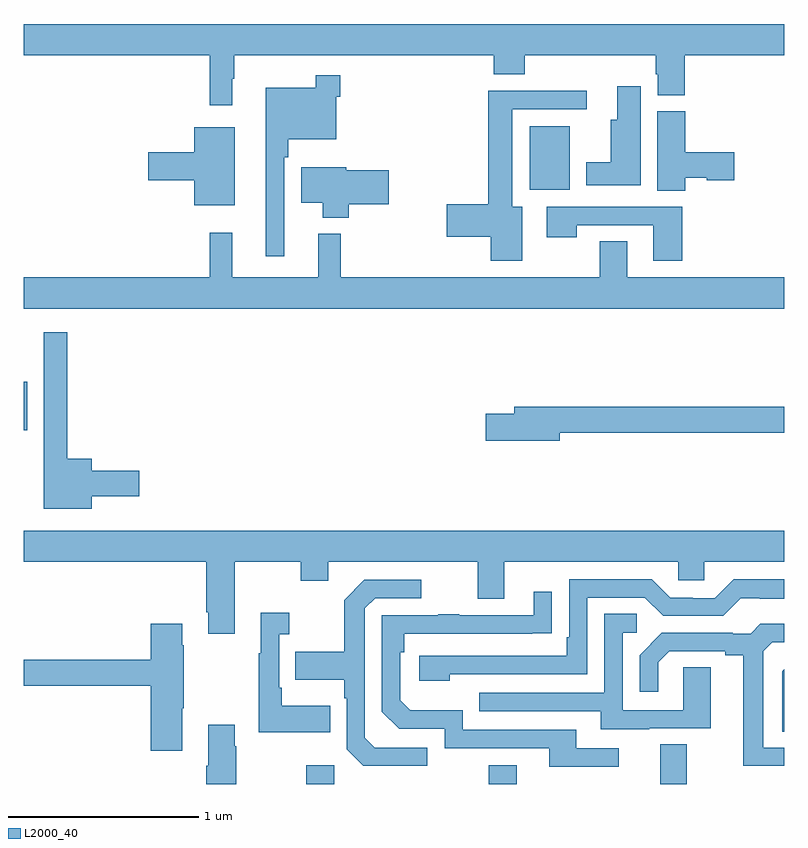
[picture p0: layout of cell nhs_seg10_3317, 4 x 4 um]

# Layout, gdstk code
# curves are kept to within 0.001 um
import gdstk
lib = gdstk.Library(unit=1e-6, precision=1e-09)
def R(c, l, rs):  # rectangles x0, y0, x1, y1
    for r in rs: c.add(gdstk.rectangle(r[:2], r[2:], *l))
def P(c, l, *ps):  # polygons
    for p in ps: c.add(gdstk.Polygon(p, *l))
L2000_40 = (2000, 40)

nhs_seg10_3317 = lib.new_cell('nhs_seg10_3317')
R(nhs_seg10_3317, L2000_40, [(292.486,1280.5,292.632,1280.599), (293.446,1280.5,293.593,1280.599), (294.347,1280.5,294.487,1280.708), (291,1282.361,291.019,1282.615), (293.66,1283.624,293.872,1283.959)])
P(nhs_seg10_3317, L2000_40, [(292.096,1284.209),(292.108,1284.209),(292.108,1284.332),(293.471,1284.332),(293.471,1284.233),(293.636,1284.233),(293.636,1284.332),(294.323,1284.332),(294.323,1284.231),(294.335,1284.231),(294.335,1284.121),(294.476,1284.121),(294.476,1284.332),(295,1284.332),(295,1284.496),(291,1284.496),(291,1284.332),(291.979,1284.332),(291.979,1284.069),(292.096,1284.069)],
  [(292.371,1283.795),(292.391,1283.795),(292.391,1283.891),(292.644,1283.891),(292.644,1284.113),(292.664,1284.113),(292.664,1284.226),(292.536,1284.226),(292.536,1284.16),(292.274,1284.16),(292.274,1283.274),(292.371,1283.274)],
  [(294.244,1284.169),(294.122,1284.169),(294.122,1283.992),(294.086,1283.992),(294.086,1283.77),(293.957,1283.77),(293.957,1283.648),(294.244,1283.648)],
  [(293.623,1283.536),(293.569,1283.536),(293.569,1284.048),(293.962,1284.048),(293.962,1284.146),(293.444,1284.146),(293.444,1283.549),(293.226,1283.549),(293.226,1283.378),(293.456,1283.378),(293.456,1283.25),(293.623,1283.25)],
  [(294.479,1283.687),(294.593,1283.687),(294.593,1283.675),(294.736,1283.675),(294.736,1283.822),(294.479,1283.822),(294.479,1284.036),(294.332,1284.036),(294.332,1283.62),(294.479,1283.62)],
  [(292.111,1283.953),(291.896,1283.953),(291.896,1283.822),(291.654,1283.822),(291.654,1283.675),(291.896,1283.675),(291.896,1283.543),(292.111,1283.543)],
  [(292.709,1283.548),(292.921,1283.548),(292.921,1283.726),(292.696,1283.726),(292.696,1283.743),(292.46,1283.743),(292.46,1283.555),(292.574,1283.555),(292.574,1283.477),(292.709,1283.477)],
  [(294.464,1283.535),(293.751,1283.535),(293.751,1283.376),(293.907,1283.376),(293.907,1283.439),(294.311,1283.439),(294.311,1283.25),(294.464,1283.25)],
  [(295,1283.164),(294.175,1283.164),(294.175,1283.354),(294.028,1283.354),(294.028,1283.164),(292.667,1283.164),(292.667,1283.392),(292.55,1283.392),(292.55,1283.164),(292.097,1283.164),(292.097,1283.398),(291.979,1283.398),(291.979,1283.164),(291,1283.164),(291,1283),(295,1283)],
  [(291.358,1282.013),(291.607,1282.013),(291.607,1282.148),(291.358,1282.148),(291.358,1282.21),(291.229,1282.21),(291.229,1282.876),(291.107,1282.876),(291.107,1281.947),(291.358,1281.947)],
  [(293.818,1282.348),(295,1282.348),(295,1282.484),(293.579,1282.484),(293.579,1282.448),(293.43,1282.448),(293.43,1282.306),(293.818,1282.306)],
  [(292.111,1281.668),(292.456,1281.668),(292.456,1281.569),(292.603,1281.569),(292.603,1281.668),(293.387,1281.668),(293.387,1281.474),(293.527,1281.474),(293.527,1281.668),(294.441,1281.668),(294.441,1281.57),(294.579,1281.57),(294.579,1281.668),(295,1281.668),(295,1281.832),(291,1281.832),(291,1281.668),(291.959,1281.668),(291.959,1281.403),(291.971,1281.403),(291.971,1281.291),(292.111,1281.291)],
  [(293.24,1281.078),(293.964,1281.078),(293.964,1281.48),(294.267,1281.48),(294.363,1281.384),(294.678,1281.384),(294.771,1281.477),(294.871,1281.477),(294.871,1281.473),(295,1281.473),(295,1281.577),(294.733,1281.577),(294.633,1281.477),(294.518,1281.477),(294.518,1281.48),(294.399,1281.48),(294.303,1281.576),(293.868,1281.576),(293.868,1281.271),(293.855,1281.271),(293.855,1281.174),(293.079,1281.174),(293.079,1281.044),(293.24,1281.044)],
  [(293.122,1280.691),(292.845,1280.691),(292.794,1280.742),(292.794,1281.423),(292.848,1281.477),(293.092,1281.477),(293.092,1281.573),(292.791,1281.573),(292.686,1281.467),(292.686,1281.195),(292.429,1281.195),(292.429,1281.047),(292.686,1281.047),(292.686,1280.951),(292.698,1280.951),(292.698,1280.682),(292.785,1280.595),(293.122,1280.595)],
  [(294.13,1280.688),(293.905,1280.688),(293.905,1280.784),(293.31,1280.784),(293.31,1280.887),(293.033,1280.887),(292.98,1280.94),(292.98,1281.194),(293,1281.194),(293,1281.291),(293.777,1281.292),(293.777,1281.511),(293.681,1281.511),(293.681,1281.387),(293.291,1281.387),(293.291,1281.392),(293.179,1281.392),(293.179,1281.387),(292.884,1281.387),(292.884,1280.88),(292.974,1280.79),(293.214,1280.79),(293.214,1280.688),(293.765,1280.688),(293.765,1280.592),(294.13,1280.592)],
  [(292.613,1280.911),(292.357,1280.911),(292.357,1281.007),(292.344,1281.007),(292.344,1281.287),(292.396,1281.287),(292.396,1281.4),(292.247,1281.4),(292.247,1281.187),(292.236,1281.187),(292.236,1280.771),(292.613,1280.771)],
  [(294.289,1280.793),(294.613,1280.793),(294.613,1281.113),(294.468,1281.113),(294.468,1280.889),(294.15,1280.889),(294.15,1281.294),(294.223,1281.294),(294.223,1281.395),(294.054,1281.395),(294.054,1280.979),(293.395,1280.979),(293.395,1280.883),(294.035,1280.883),(294.035,1280.789),(294.289,1280.789)],
  [(295,1280.691),(294.889,1280.691),(294.889,1281.199),(294.936,1281.246),(295,1281.246),(295,1281.343),(294.874,1281.343),(294.822,1281.291),(294.728,1281.291),(294.728,1281.294),(294.356,1281.294),(294.24,1281.178),(294.24,1280.985),(294.337,1280.985),(294.337,1281.141),(294.394,1281.198),(294.689,1281.198),(294.689,1281.176),(294.785,1281.176),(294.785,1280.595),(295,1280.595)],
  [(291.835,1280.899),(291.843,1280.899),(291.843,1281.23),(291.835,1281.23),(291.835,1281.343),(291.668,1281.343),(291.668,1281.152),(291,1281.152),(291,1281.016),(291.668,1281.016),(291.668,1280.676),(291.835,1280.676)],
  [(295,1281.104),(294.99,1281.094),(294.99,1280.776),(295,1280.776)],
  [(292.111,1280.699),(292.111,1280.812),(291.971,1280.812),(291.971,1280.596),(291.959,1280.596),(291.959,1280.5),(292.119,1280.5),(292.119,1280.699)])

lib.write_gds('nhs_seg10_3317.gds')
